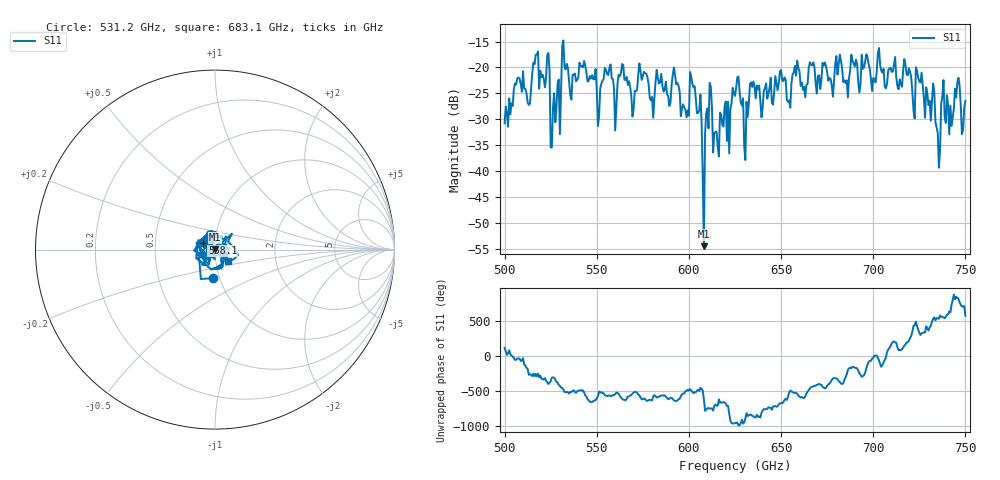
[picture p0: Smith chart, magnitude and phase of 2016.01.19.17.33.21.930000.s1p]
!Created with skrf (http://scikit-rf.org).
# GHz S RI R 50.0
!freq ReS11 ImS11
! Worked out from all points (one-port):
!   401 points, 500 GHz to 750 GHz, reference 50 ohm
!   lowest |S11| = -54.5 dB at 608.1 GHz (marker M1), VSWR 1.00, Z = 50 + j0.182 ohm
!   |S11| at or under -10 dB: start of sweep to end of sweep
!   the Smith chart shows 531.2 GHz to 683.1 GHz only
!   S11 on the Smith chart (normalised r, x): 531.2 GHz: 0.93, -0.30; 558.1 GHz: 0.87, +0.06; 683.1 GHz: 1.15, -0.14
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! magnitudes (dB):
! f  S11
! 500 GHz  -30.8
! 506.9 GHz  -22.1
! 513.1 GHz  -27.2
! 516.9 GHz  -17.6
! 523.1 GHz  -17.6
! 526.2 GHz  -27.8
! 531.2 GHz  -16.0
! 542.5 GHz  -20.0
! 551.2 GHz  -29.4
! 558.1 GHz  -22.1
! 562.5 GHz  -21.7
! 593.8 GHz  -23.0
! 598.8 GHz  -29.7
! 601.9 GHz  -23.2
! 608.1 GHz  -54.5
! 610.6 GHz  -31.8
! 615 GHz  -32.4
! 625 GHz  -25.5
! 631.2 GHz  -26.6
! 634.4 GHz  -23.8
! 656.2 GHz  -21.3
! 683.1 GHz  -20.3
! 687.5 GHz  -20.5
! 718.8 GHz  -21.5
! 731.9 GHz  -26.4
! 735 GHz  -32.6
! 745.6 GHz  -22.9
! 750 GHz  -26.4
